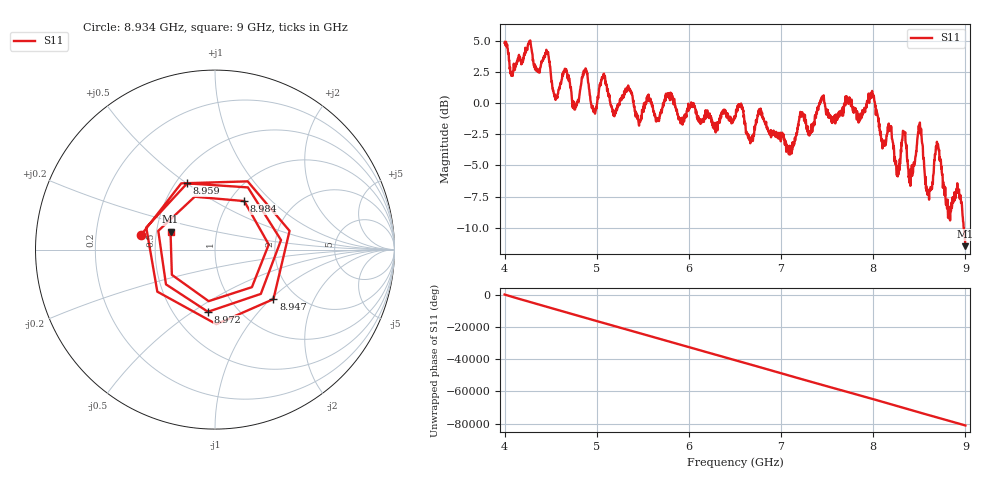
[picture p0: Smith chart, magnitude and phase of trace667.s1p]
! Created with skrf 1.8.0 (http://scikit-rf.org).
# Hz S RI R 50.0
!freq ReS11 ImS11
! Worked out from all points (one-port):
!   1601 points, 4 GHz to 9 GHz, reference 50 ohm
!   lowest |S11| = -11.5 dB at 9 GHz (marker M1), VSWR 1.73, Z = 29.6 + j6.32 ohm
!   |S11| at or under -10 dB: 8.980882 GHz to end of sweep
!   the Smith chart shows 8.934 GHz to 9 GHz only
!   S11 on the Smith chart (normalised r, x): 8.934 GHz: 0.41, +0.08; 8.947 GHz: 1.54, -1.04; 8.959 GHz: 0.57, +0.50; 8.972 GHz: 0.73, -0.58; 8.984 GHz: 1.16, +0.70; 9 GHz: 0.59, +0.13
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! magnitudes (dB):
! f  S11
! 4 GHz  4.8
! 4.081 GHz  2.3
! 4.266 GHz  4.8
! 4.466 GHz  4.0
! 4.55 GHz  0.4
! 4.625 GHz  2.2
! 5.25 GHz  0.3
! 5.875 GHz  -0.9
! 6.5 GHz  -1.2
! 7.125 GHz  -3.1
! 7.222 GHz  -1.1
! 7.75 GHz  0.3
! 7.988 GHz  1.0
! 8.109 GHz  -3.0
! 8.181 GHz  -2.1
! 8.266 GHz  -5.9
! 8.338 GHz  -2.5
! 8.375 GHz  -5.0
! 8.503 GHz  -2.1
! 8.597 GHz  -7.1
! 8.694 GHz  -3.2
! 8.812 GHz  -9.2
! 8.934 GHz  -7.5
! 8.947 GHz  -7.4
! 8.959 GHz  -7.9
! 8.972 GHz  -9.2
! 8.984 GHz  -10.0
! 9 GHz  -11.5
